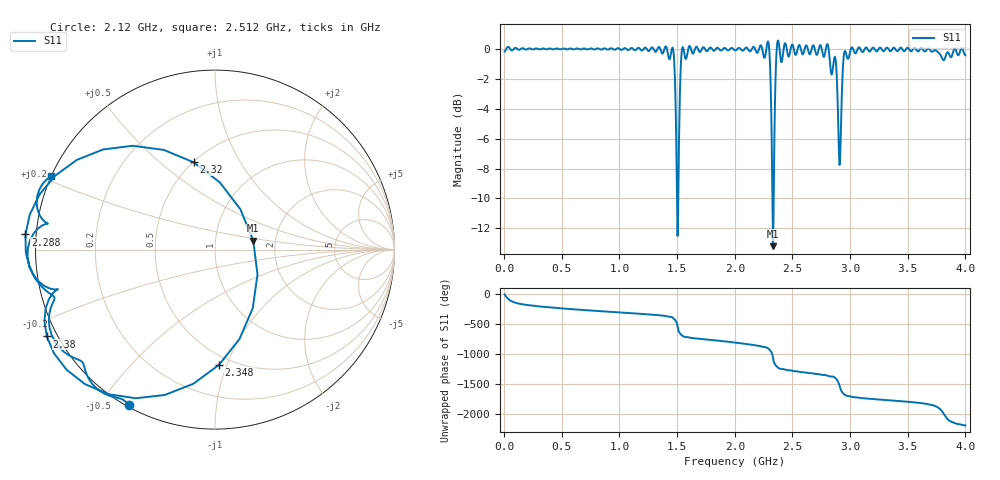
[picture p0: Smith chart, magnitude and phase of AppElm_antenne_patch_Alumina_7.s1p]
! TOUCHSTONE file generated by CST MICROWAVE STUDIO
! Date and time: Thu Jun  9 08:55:01 2022
! Project name: AppElm_antenne_patch_Alumina.cst
! Parameters = {L=32.025; W=41.8; e=0.035; h=1.6; lambda=0.190476; ls=90; w0=1.12; w1=0.373; ws=90; y0=14; y1=10}
! Header version: 2018
! Port assignment regex: !\s*Touchstone port\s*([0-9]+)\s*=\s*(CST MWS port|CST DS port)\s*([0-9]+|Zmin|Zmax)\s*\(\"(.*)\"\)(\s*mode\s*([0-9]+))?.*
! Touchstone port assignment:
! Touchstone port 1 = CST MWS port 1 ("")
# GHz S MA R 50
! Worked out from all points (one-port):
!   1000 points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, 4 MHz to 4 GHz, reference 50 ohm
!   lowest |S11| = -13.2 dB at 2.332 GHz (marker M1), VSWR 1.56, Z = 76.6 + j8 ohm
!   |S11| at or under -10 dB: 1.499 GHz to 1.51 GHz (11.24 MHz wide, 0.747 % of centre); 2.325988 GHz to 2.337629 GHz (11.64 MHz wide, 0.499 % of centre)
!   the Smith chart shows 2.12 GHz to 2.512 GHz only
!   S11 on the Smith chart (normalised r, x): 2.12 GHz: 0.01, -0.59; 2.288 GHz: -0.03, +0.04; 2.32 GHz: 0.50, +0.65; 2.348 GHz: 0.43, -0.94; 2.38 GHz: -0.03, -0.24; 2.512 GHz: 0.00, +0.21
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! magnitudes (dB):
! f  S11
! 4 MHz  -0.2
! 504 MHz  0.0
! 1.004 GHz  0.0
! 1.456 GHz  0.0
! 1.472 GHz  -0.5
! 1.492 GHz  -5.9
! 1.504 GHz  -12.5
! 1.516 GHz  -6.3
! 1.536 GHz  -0.6
! 1.552 GHz  0.1
! 2.004 GHz  -0.1
! 2.12 GHz  -0.1
! 2.288 GHz  0.5
! 2.3 GHz  -0.2
! 2.32 GHz  -6.0
! 2.332 GHz  -13.2
! 2.348 GHz  -3.8
! 2.364 GHz  0.0
! 2.38 GHz  0.5
! 2.504 GHz  0.2
! 2.512 GHz  0.0
! 2.804 GHz  0.3
! 2.872 GHz  -0.6
! 2.908 GHz  -7.8
! 2.952 GHz  -0.2
! 3.004 GHz  -0.1
! 3.504 GHz  0.1
! 4 GHz  -0.4
